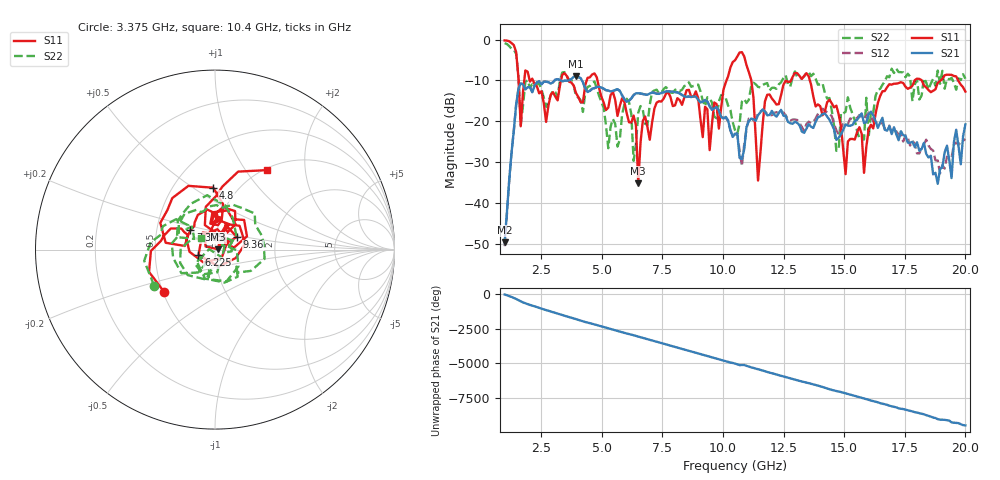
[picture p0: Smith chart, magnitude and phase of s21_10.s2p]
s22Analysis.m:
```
clear all;
filename = 's21_00.s2p';
TDM = zeros(201, 19);
TScale = linspace(0, 200/16, 201);
ExScale = 1:19;

for i = 9:-1:0
    filename(6) = num2str(i,2);
    Fnames(10-i,:) = filename;
end

filename = 's21_10.s2p';
for i = 1:9
    filename(6) = num2str(i,2);
    Fnames(10+i,:) = filename;
end
    
for i = 1 : 19
    name = Fnames(i,:);
    dat = sparameters(name);
    
    s22 = dat.Parameters(2,2,:);
    x = s22;
    s22 = reshape(x,size(x,3),size(x,1)*size(x,2));
    
    td = ifft(s22);
    TDM(:,i) = td;
end

imagesc(ExScale, TScale, db(TDM));
colorbar;
grid;

sub = TDM - TDM(:,1) * ones(1,19);
figure;
imagesc(ExScale, TScale, db(sub));
colorbar;
caxis([-60 -40])
```
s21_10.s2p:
!Agilent Technologies,N5230A,MY45001629,A.07.50.67
!Agilent N5230A: A.07.50.67
!Date: Monday, June 05, 2017 15:56:35
!Correction: S11(Full 2 Port(1,2))
!S21(Full 2 Port(1,2))
!S12(Full 2 Port(1,2))
!S22(Full 2 Port(1,2))
!S2P File: Measurements: S11, S21, S12, S22:
# Hz S  dB  R 50
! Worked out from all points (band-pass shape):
!   201 points, 1 GHz to 20 GHz, reference 50 ohm
!   highest |S21| = -8.95 dB at 3.945 GHz (marker M1); lowest = -49.7 dB at 1 GHz (marker M2)
!   |S21| within 3 dB of the highest: 2.196 GHz to 4.325 GHz (2.128 GHz wide, 65.3 % of centre); 4.664 GHz to 5.056 GHz (392.2 MHz wide, 8.07 % of centre)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
!   lowest |S11| = -35.2 dB at 6.51 GHz (marker M3), VSWR 1.04, Z = 51.8 + j0.202 ohm
!   |S11| at or under -10 dB: 4.828 GHz to 10.15 GHz (5.324 GHz wide, 71.1 % of centre); 11.17 GHz to 12.81 GHz (1.64 GHz wide, 13.7 % of centre); 13.59 GHz to 17.91 GHz (4.321 GHz wide, 27.4 % of centre)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
!   |S22| runs from -29.7 to -0.9 dB; largest |S21 - S12| = 0.042
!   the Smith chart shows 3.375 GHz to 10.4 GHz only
!   S11 on the Smith chart (normalised r, x): 3.375 GHz: 0.51, -0.28; 4.8 GHz: 0.77, +0.61; 6.225 GHz: 0.83, -0.05; 7.365 GHz: 0.74, +0.17; 9.36 GHz: 1.26, +0.18; 10.4 GHz: 1.03, +1.26
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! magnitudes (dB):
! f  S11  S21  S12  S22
! 1 GHz  -0.2  -49.7  -50.6  -0.9
! 3.375 GHz  -8.7  -10.2  -10.3  -8.1
! 3.945 GHz  -13.1  -9.0  -8.9  -14.0
! 4.8 GHz  -9.2  -11.6  -11.6  -11.9
! 6.225 GHz  -20.3  -14.4  -14.4  -18.3
! 6.51 GHz  -35.2  -13.2  -13.2  -17.9
! 7.365 GHz  -15.1  -13.3  -13.3  -13.2
! 9.36 GHz  -17.1  -15.1  -15.2  -14.1
! 10.4 GHz  -5.5  -23.8  -23.5  -20.2
! 10.5 GHz  -5.1  -23.1  -23.1  -22.2
! 20 GHz  -12.7  -20.8  -24.3  -9.6
